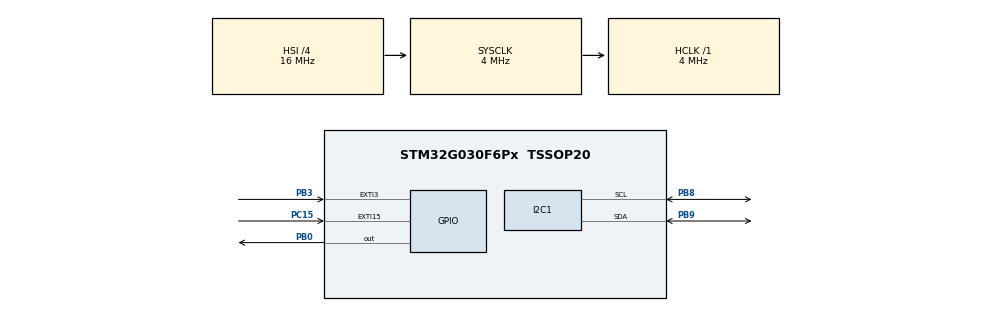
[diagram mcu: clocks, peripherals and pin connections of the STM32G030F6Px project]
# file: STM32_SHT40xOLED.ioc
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I2C1.Timing=0x00100D14
Mcu.Family=STM32G0
Mcu.Name=STM32G030F6Px
Mcu.Package=TSSOP20
NVIC.EXTI2_3_IRQn=true\:1\:0\:true\:false\:true\:true\:true\:true
NVIC.EXTI4_15_IRQn=true\:0\:0\:false\:false\:true\:true\:true\:true
NVIC.RTC_TAMP_IRQn=true\:0\:0\:false\:false\:true\:true\:true\:true
PA13.Mode=Serial_Wire
PA13.Signal=SYS_SWDIO
PA14-BOOT0.Mode=Serial_Wire
PA14-BOOT0.Signal=SYS_SWCLK
PA14-BOOT0__PA15.StandardMode=true
PB0.Signal=GPIO_Output
PB0__PB1__PB2__PA8.StandardMode=true
PB3.GPIO_PuPd=GPIO_PULLUP
PB3.Signal=GPXTI3
PB3__PB4__PB5__PB6.StandardMode=true
PB7__PB8.StandardMode=true
PB8.Mode=I2C
PB8.Signal=I2C1_SCL
PB9.Mode=I2C
PB9.Signal=I2C1_SDA
PC14-OSC32_IN\ (PC14)__PB9.StandardMode=true
PC15-OSC32_OUT\ (PC15).GPIO_PuPd=GPIO_PULLUP
PC15-OSC32_OUT\ (PC15).Signal=GPXTI15
ProjectManager.HeapSize=0x200
ProjectManager.StackSize=0x400
ProjectManager.TargetToolchain=STM32CubeIDE
RCC.ADCFreq_Value=4000000
RCC.AHBFreq_Value=4000000
RCC.CortexFreq_Value=4000000
RCC.EXTERNAL_CLOCK_VALUE=12288000
RCC.HCLKFreq_Value=4000000
RCC.HSE_VALUE=8000000
RCC.HSISYSCLKDivider=RCC_HSI_DIV4
RCC.HSI_VALUE=16000000
RCC.LSE_VALUE=32768
RCC.SYSCLKFreq_VALUE=4000000
RCC.VCOOutputFreq_Value=128000000
VP_RTC_VS_RTC_Activate.Mode=RTC_Enabled
VP_RTC_VS_RTC_Calendar.Mode=RTC_Calendar
VP_RTC_VS_RTC_WakeUp_intern.Mode=WakeUp
board=custom

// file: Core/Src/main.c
/* USER CODE BEGIN Header */
/**
  ******************************************************************************
  * @file           : main.c
  * @brief          : Main program body
  ******************************************************************************
  * @attention
  *
  * Copyright (c) 2025 STMicroelectronics.
  * All rights reserved.
  *
  * This software is licensed under terms that can be found in the LICENSE file
  * in the root directory of this software component.
  * If no LICENSE file comes with this software, it is provided AS-IS.
  *
  ******************************************************************************
  */
/* USER CODE END Header */
#include "main.h"
#include "i2c.h"
#include "rtc.h"
#include "gpio.h"

/* USER CODE BEGIN Includes */
#include "ssd1306.h"
#include "math.h"

#include "ssd1306_fonts.h"
#include "stdio.h"
#define SHT40_ADDR      (0x44 << 1)  // STM32 HAL 需 8-bit address
#define SHT40_CMD_HIGH_PRECISION  0xFD

/* USER CODE END Includes */

/* USER CODE BEGIN PTD */

void display_test(void) {
    char line[32];
    float temp = 23.6;
    int tempx1 = temp ,tempx10 = temp *10;
    tempx10 = tempx10-tempx1*10;

    ssd1306_Fill(Black);
    sprintf(line, "T: %d.%d  C", tempx1,tempx10);
    ssd1306_SetCursor(0, 0);
    ssd1306_WriteString(line, Font_7x10, White);
    ssd1306_UpdateScreen();
}

void OLED_ShowTempHum(float temp, float hum, uint16_t counter,int TL,int TH) {
    char line[32];
    int tempx1 = (int)temp;
    int tempx10 = (int)(temp * 10) - tempx1 * 10;
    int humx1 = (int)hum;
    int humx10 = (int)(hum * 10) - humx1 * 10;

    sprintf(line, ": %d.%d C", tempx1, tempx10);
    ssd1306_SetCursor(10, 0);
    ssd1306_WriteString(line, Font_11x18, White);

    sprintf(line, ": %d.%d %%", humx1, humx10);
    ssd1306_SetCursor(10, 20);
    ssd1306_WriteString(line, Font_11x18, White);

    sprintf(line, "Temp");
    ssd1306_SetCursor(0, 38);
    ssd1306_WriteString(line, Font_7x10, White);

    sprintf(line, "H: %d    L: %d ", TH,TL);
    ssd1306_SetCursor(0, 52);
    ssd1306_WriteString(line, Font_7x10, White);

}

void OLED_ShowTempHum_BIG(float temp, float hum, uint16_t counter) {
	char line[32];
	int tempx1 = (int)temp;
	int tempx10 = (int)(temp * 10) - tempx1 * 10;
	int humx1 = (int)hum;
	int humx10 = (int)(hum * 10) - humx1 * 10;

	sprintf(line, ": %d.%d C", tempx1, tempx10);
	ssd1306_SetCursor(10, 0);
	ssd1306_WriteString(line, Font_16x24, White);
	//ssd1306_DrawBitmap(0, 0, Temp_bitmap, 8, 18, White); // 在 x=100, y=0 顯示

	sprintf(line, ": %d.%d %%", humx1, humx10);
	ssd1306_SetCursor(10, 40);
	ssd1306_WriteString(line, Font_16x24, White);
	//ssd1306_DrawBitmap(1, 45, Humidity_bitmap, 8, 12, White); // 在 x=100, y=0 顯示

}

void ShowNormalScreen(void) {
    ssd1306_WriteCommand(0xAF);
    ssd1306_Fill(Black);
    ssd1306_SetCursor(15, 0);
    ssd1306_WriteString("Normal", Font_16x24, White);
    ssd1306_SetCursor(30, 25);
    ssd1306_WriteString("mode", Font_16x24, White);
    ssd1306_SetCursor(3, 50);
    ssd1306_WriteString("( o_o )/", Font_7x10, White);
    ssd1306_SetContrast(240);
    ssd1306_UpdateScreen();
}

void ShowSleepScreen(void) {
    ssd1306_Fill(Black);
    ssd1306_SetCursor(20, 0);
    ssd1306_WriteString("Sleep", Font_16x24, White);
    ssd1306_SetCursor(30, 23);
    ssd1306_WriteString("mode", Font_16x24, White);
    ssd1306_SetCursor(15, 50);
    ssd1306_WriteString("( -.-)Zzz...", Font_7x10, White);
    ssd1306_UpdateScreen();
}

/* USER CODE END PTD */

/* USER CODE BEGIN PD */

const uint8_t Humidity_bitmap[] = {
		0x0008,
		0x0008,
		0x0018,
		0x003c,
		0x003c,
		0x007e,
		0x00ff,
		0x00ff,
		0x00fb,
		0x00f3,
		0x007e,
		0x003c
};

const uint8_t water_drop_bitmapA[] = {
		0x0000, 0x0008,
		0x0000, 0x0018,
		0x0000, 0x001c,
		0x0008, 0x003e,
		0x0008, 0x003e,
		0x0018, 0x003e,
		0x003c, 0x001c,
		0x003c, 0x0000,
		0x007e, 0x0000,
		0x00ff, 0x0000,
		0x00ff, 0x0000,
		0x00fb, 0x0000,
		0x00f3, 0x0000,
		0x007e, 0x0000,
		0x003c, 0x0000
};

const uint8_t Temp_bitmap[] = {
		0x0018,
		0x0024,
		0x0024,
		0x0024,
		0x0024,
		0x002c,
		0x0024,
		0x002c,
		0x002c,
		0x002c,
		0x002c,
		0x004a,
		0x0099,
		0x00bd,
		0x00bd,
		0x0099,
		0x0042,
		0x003c
};

/* USER CODE END PD */

/* USER CODE BEGIN PV */

uint8_t sht40_buffer[6];
uint8_t SHT40_CRC8(const uint8_t *data) {
    uint8_t crc = 0xFF;
    for (uint8_t i = 0; i < 2; i++) {
        crc ^= data[i];
        for (uint8_t j = 0; j < 8; j++)
            crc = (crc & 0x80) ? (crc << 1) ^ 0x31 : (crc << 1);
    }
    return crc;
}

uint8_t SHT40_Read(float* temp, float* hum) {
    uint8_t cmd = SHT40_CMD_HIGH_PRECISION;
    if (HAL_I2C_Master_Transmit(&hi2c1, SHT40_ADDR, &cmd, 1, 100) != HAL_OK) return 0;
    HAL_Delay(10);
    if (HAL_I2C_Master_Receive(&hi2c1, SHT40_ADDR, sht40_buffer, 6, 100) != HAL_OK) return 0;

    if (SHT40_CRC8(&sht40_buffer[0]) != sht40_buffer[2]) return 0;
    if (SHT40_CRC8(&sht40_buffer[3]) != sht40_buffer[5]) return 0;

    uint16_t rawT = (sht40_buffer[0] << 8) | sht40_buffer[1];
    uint16_t rawH = (sht40_buffer[3] << 8) | sht40_buffer[4];

    *temp = -45.0f + 175.0f * (rawT / 65535.0f);
    *hum  = 100.0f * (rawH / 65535.0f);
    return 1;
}

/* USER CODE END PV */

void SystemClock_Config(void);
/* USER CODE BEGIN PFP */

void OLED_BreathEffect(void) {

	static uint8_t contrast = 0;// 從最小亮度起始
	static int8_t direction = 1;
	static uint32_t last_tick = 0;

	if (HAL_GetTick() - last_tick < 10) return; // 每 10ms 更新

	last_tick = HAL_GetTick();

	contrast += direction * 36;
	if (contrast >= 240) {
	contrast = 255;
	direction = -1;
	}

	else if (contrast <= 3) { // 最低亮度為 3，不會全暗
	contrast = 3;
	direction = 1;

	// 可選：關閉 OLED 來降低電流（部分 OLED 支援）
	ssd1306_WriteCommand(0xAE);  //Display OFF

	// 進入 STOP 模式
	HAL_SuspendTick();
	HAL_PWR_EnterSTOPMode(PWR_MAINREGULATOR_ON, PWR_SLEEPENTRY_WFI);
	HAL_ResumeTick();
	// 醒來後重新設置時鐘
	SystemClock_Config();
	ssd1306_WriteCommand(0xAF);  // Display ON
	}
	ssd1306_SetContrast(contrast);
	}

/* USER CODE END PFP */

/* USER CODE BEGIN 0 */
int xxz=0;
int SW_mode=0 , SW_mode_rollback=0 ;
int TH=0,TL=99,TO;
float temp , hum ;
/* USER CODE END 0 */

int main(void)
{

  /* MCU Configuration--------------------------------------------------------*/

  /* Reset of all peripherals, Initializes the Flash interface and the Systick. */
  HAL_Init();

  /* Configure the system clock */
  SystemClock_Config();

  /* Initialize all configured peripherals */
  MX_GPIO_Init();
  MX_I2C1_Init();
  MX_RTC_Init();

  /* Infinite loop */
  /* USER CODE BEGIN WHILE */

  ssd1306_Init();
  ssd1306_WriteCommand(0xC0);  // 垂直翻轉
  ssd1306_WriteCommand(0xA0);  // 水平翻轉
  HAL_GPIO_WritePin(GPIOB, GPIO_PIN_0, GPIO_PIN_SET); // 將 PB0 設為 LOW

  HAL_RTCEx_DeactivateWakeUpTimer(&hrtc);  // 一定要先停掉
  HAL_RTCEx_SetWakeUpTimer_IT(&hrtc, 19, RTC_WAKEUPCLOCK_CK_SPRE_16BITS);  // 理論每19秒,實測16秒
  HAL_Delay(200);

  while (1)
  {

	  if (HAL_GPIO_ReadPin(GPIOC, GPIO_PIN_15) == 0 )  {// 若按鈕按下（低電位）

		  switch(SW_mode){
		  case 0 :
			  SW_mode = 1;
			  SW_mode_rollback = 0;
			  ShowSleepScreen();
			  HAL_Delay(2500);// 延遲
			  break;
		  case 2 :
			  SW_mode = 1;
			  SW_mode_rollback = 2;
			  ShowSleepScreen();
			  HAL_Delay(2500);// 延遲

			  break;
		  default:

			  if(SW_mode_rollback == 0){
				  SW_mode = 0;
				  ShowNormalScreen();
				  HAL_Delay(1500);// 延遲
			  }else{
				  SW_mode = 2;
				  ShowNormalScreen();
				  HAL_Delay(1500);// 延遲
			  }
			  break;
		  }
	  }

	  if (HAL_GPIO_ReadPin(GPIOB, GPIO_PIN_3) == 0){
		  switch(SW_mode){
		  case 0 :
			  SW_mode=2;
			  SW_mode_rollback=0;

			  break;
		  case 2 :
			  SW_mode=0;
			  SW_mode_rollback=2;
			  break;
		  default:
			  if(SW_mode_rollback == 0){
				  SW_mode = 0;
				  ShowNormalScreen();
				  HAL_Delay(1500);// 延遲
			  }else{
				  SW_mode = 2;
				  ShowNormalScreen();
				  HAL_Delay(1500);// 延遲
			  }
			  break;
		  }	  }

	  xxz++;
	  TO=temp;
	  if(TO == 0){
	  }else{
		  if(TO > TH ){
		  TH=TO;
	  }
		  if(TO < TL ){
			 TL=TO;
		  }}

	  ssd1306_Fill(Black);
	  if(SW_mode == 1){
		  ssd1306_WriteCommand(0xAE);  //Display OFF
		  // 進入 STOP 模式
		  HAL_SuspendTick();
		  HAL_PWR_EnterSTOPMode(PWR_MAINREGULATOR_ON, PWR_SLEEPENTRY_WFI);
		  HAL_ResumeTick();
		  // 醒來後重新設置時鐘
		  SystemClock_Config();
	  }else if(SW_mode == 2){
		  if (SHT40_Read(&temp, &hum)) {
			  ssd1306_DrawBitmap(0, 0, Temp_bitmap, 8, 18, White); // 在 x=100, y=0 顯示
			  ssd1306_DrawBitmap(1, 45, Humidity_bitmap, 8, 12, White); // 在 x=100, y=0 顯示
			  OLED_ShowTempHum_BIG(temp, hum, xxz);
			  OLED_BreathEffect();
			  HAL_Delay(500);// 延遲
		  }
	  }else{

		  if (SHT40_Read(&temp, &hum)) {
			  ssd1306_DrawBitmap(1, 24, Humidity_bitmap, 8, 12, White); // 在 x=100, y=0 顯示
			  ssd1306_DrawBitmap(0, 0, Temp_bitmap, 8, 18, White); // 在 x=100, y=0 顯示
			  OLED_ShowTempHum(temp, hum, xxz,TL,TH);
			  OLED_BreathEffect();
			  HAL_Delay(500);// 延遲

 	  }
 	  else {
 	      ssd1306_SetCursor(20, 0);
 	      ssd1306_WriteString("SHT40", Font_16x24, White);
 	      ssd1306_SetCursor(20, 30);
 	      ssd1306_WriteString("ERROR", Font_16x24, White);

 	  }	  }
 	  ssd1306_UpdateScreen();
 	  HAL_Delay(10);

    /* USER CODE END WHILE */

  }
}

void SystemClock_Config(void)
{
  RCC_OscInitTypeDef RCC_OscInitStruct = {0};
  RCC_ClkInitTypeDef RCC_ClkInitStruct = {0};

  /** Configure the main internal regulator output voltage
  */
  HAL_PWREx_ControlVoltageScaling(PWR_REGULATOR_VOLTAGE_SCALE1);

  /** Initializes the RCC Oscillators according to the specified parameters
  * in the RCC_OscInitTypeDef structure.
  */
  RCC_OscInitStruct.OscillatorType = RCC_OSCILLATORTYPE_HSI|RCC_OSCILLATORTYPE_LSI;
  RCC_OscInitStruct.HSIState = RCC_HSI_ON;
  RCC_OscInitStruct.HSIDiv = RCC_HSI_DIV4;
  RCC_OscInitStruct.HSICalibrationValue = RCC_HSICALIBRATION_DEFAULT;
  RCC_OscInitStruct.LSIState = RCC_LSI_ON;
  RCC_OscInitStruct.PLL.PLLState = RCC_PLL_NONE;
  if (HAL_RCC_OscConfig(&RCC_OscInitStruct) != HAL_OK)
  {
    Error_Handler();
  }

  /** Initializes the CPU, AHB and APB buses clocks
  */
  RCC_ClkInitStruct.ClockType = RCC_CLOCKTYPE_HCLK|RCC_CLOCKTYPE_SYSCLK
                              |RCC_CLOCKTYPE_PCLK1;
  RCC_ClkInitStruct.SYSCLKSource = RCC_SYSCLKSOURCE_HSI;
  RCC_ClkInitStruct.AHBCLKDivider = RCC_SYSCLK_DIV1;
  RCC_ClkInitStruct.APB1CLKDivider = RCC_HCLK_DIV1;

  if (HAL_RCC_ClockConfig(&RCC_ClkInitStruct, FLASH_LATENCY_0) != HAL_OK)
  {
    Error_Handler();
  }
}

void Error_Handler(void)
{
  __disable_irq();
  while (1)
  {
  }
}
